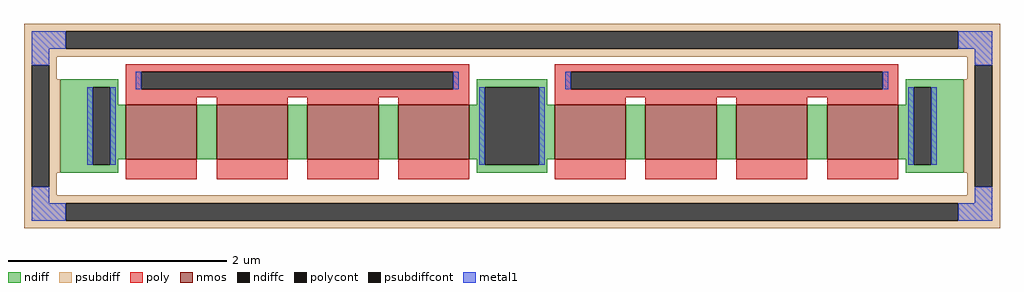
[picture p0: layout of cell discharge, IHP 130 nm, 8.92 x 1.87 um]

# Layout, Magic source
magic
tech ihp-sg13g2
magscale 1 2
<< nmos >>
rect 254 126 384 226
rect 420 126 550 226
rect 586 126 716 226
rect 752 126 882 226
rect 1038 126 1168 226
rect 1204 126 1334 226
rect 1370 126 1500 226
rect 1536 126 1666 226
<< ndiff >>
rect 134 258 240 272
rect 134 116 194 258
rect 226 226 240 258
rect 896 258 1024 272
rect 896 226 910 258
rect 226 126 254 226
rect 384 126 420 226
rect 550 126 586 226
rect 716 126 752 226
rect 882 126 910 226
rect 226 116 240 126
rect 134 102 240 116
rect 896 116 910 126
rect 1010 226 1024 258
rect 1680 258 1786 272
rect 1680 226 1694 258
rect 1010 126 1038 226
rect 1168 126 1204 226
rect 1334 126 1370 226
rect 1500 126 1536 226
rect 1666 126 1694 226
rect 1010 116 1024 126
rect 896 102 1024 116
rect 1680 116 1694 126
rect 1726 116 1786 258
rect 1680 102 1786 116
<< ndiffc >>
rect 194 116 226 258
rect 910 116 1010 258
rect 1694 116 1726 258
<< psubdiff >>
rect 68 360 1852 374
rect 68 328 144 360
rect 1776 328 1852 360
rect 68 314 1852 328
rect 68 298 128 314
rect 68 76 82 298
rect 114 272 128 298
rect 114 102 134 272
rect 114 76 128 102
rect 1792 298 1852 314
rect 1792 272 1806 298
rect 1786 102 1806 272
rect 68 60 128 76
rect 1792 76 1806 102
rect 1838 76 1852 298
rect 1792 60 1852 76
rect 68 46 1852 60
rect 68 14 144 46
rect 1776 14 1852 46
rect 68 0 1852 14
<< psubdiffcont >>
rect 144 328 1776 360
rect 82 76 114 298
rect 1806 76 1838 298
rect 144 14 1776 46
<< poly >>
rect 254 286 882 300
rect 254 254 282 286
rect 853 254 882 286
rect 1038 286 1666 300
rect 254 240 882 254
rect 254 226 384 240
rect 420 226 550 240
rect 586 226 716 240
rect 752 226 882 240
rect 254 90 384 126
rect 420 90 550 126
rect 586 90 716 126
rect 752 90 882 126
rect 1038 254 1067 286
rect 1638 254 1666 286
rect 1038 240 1666 254
rect 1038 226 1168 240
rect 1204 226 1334 240
rect 1370 226 1500 240
rect 1536 226 1666 240
rect 1038 90 1168 126
rect 1204 90 1334 126
rect 1370 90 1500 126
rect 1536 90 1666 126
<< polycont >>
rect 282 254 853 286
rect 1067 254 1638 286
<< metal1 >>
rect 82 328 144 360
rect 1776 328 1838 360
rect 82 298 114 328
rect 1806 298 1838 328
rect 184 116 194 258
rect 226 116 236 258
rect 272 254 282 286
rect 853 254 863 286
rect 900 116 910 258
rect 1010 116 1020 258
rect 1057 254 1067 286
rect 1638 254 1648 286
rect 1684 116 1694 258
rect 1726 116 1736 258
rect 82 46 114 76
rect 1806 46 1838 76
rect 82 14 144 46
rect 1776 14 1838 46
<< properties >>
string FIXED_BBOX 0 0 1920 374
<< end >>
